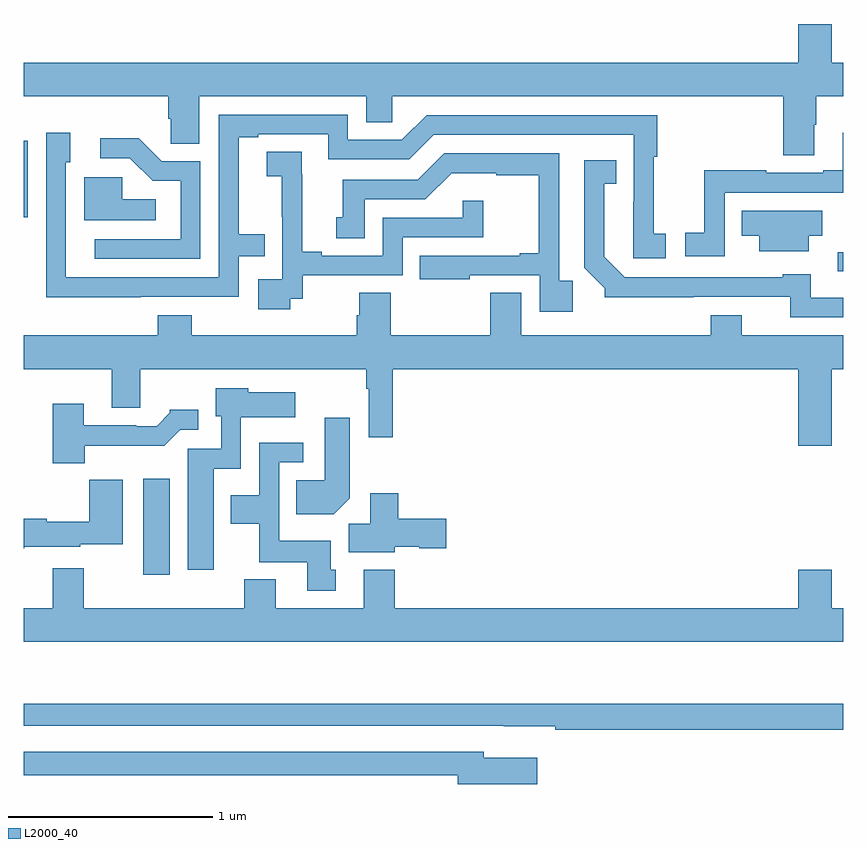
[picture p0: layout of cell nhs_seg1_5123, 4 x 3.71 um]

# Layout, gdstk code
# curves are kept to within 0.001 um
import gdstk
lib = gdstk.Library(unit=1e-6, precision=1e-09)
def R(c, l, rs):  # rectangles x0, y0, x1, y1
    for r in rs: c.add(gdstk.rectangle(r[:2], r[2:], *l))
def P(c, l, *ps):  # polygons
    for p in ps: c.add(gdstk.Polygon(p, *l))
L2000_40 = (2000, 40)

nhs_seg1_5123 = lib.new_cell('nhs_seg1_5123')
R(nhs_seg1_5123, L2000_40, [(389.582,529.416,389.713,529.885), (392.975,530.897,393,530.991), (389,531.162,389.019,531.534)])
P(nhs_seg1_5123, L2000_40, [(392.86,531.614),(392.868,531.614),(392.868,531.752),(393,531.752),(393,531.916),(392.944,531.916),(392.944,532.105),(392.78,532.105),(392.78,531.916),(389,531.916),(389,531.752),(389.705,531.752),(389.705,531.643),(389.718,531.643),(389.718,531.52),(389.857,531.52),(389.857,531.752),(390.671,531.752),(390.671,531.625),(390.798,531.625),(390.798,531.752),(392.708,531.752),(392.708,531.463),(392.86,531.463)],
  [(389.57,530.772),(390.048,530.772),(390.048,530.97),(390.176,530.97),(390.176,531.079),(390.049,531.079),(390.049,531.552),(390.145,531.552),(390.145,531.567),(390.486,531.567),(390.486,531.444),(390.882,531.444),(391.002,531.564),(391.977,531.564),(391.976,530.961),(392.134,530.961),(392.134,531.081),(392.076,531.081),(392.076,531.457),(392.093,531.457),(392.093,531.66),(390.966,531.66),(390.846,531.54),(390.582,531.54),(390.582,531.663),(389.952,531.663),(389.952,530.868),(389.205,530.868),(389.205,531.429),(389.227,531.429),(389.227,531.574),(389.109,531.574),(389.108,530.771)],
  [(392.421,531.282),(393,531.282),(393,531.574),(392.999,531.574),(392.999,531.391),(392.903,531.391),(392.903,531.378),(392.624,531.378),(392.624,531.391),(392.323,531.391),(392.323,531.086),(392.229,531.086),(392.229,530.97),(392.421,530.97)],
  [(389.862,531.435),(389.673,531.435),(389.56,531.548),(389.373,531.548),(389.373,531.45),(389.517,531.45),(389.628,531.339),(389.766,531.339),(389.766,531.054),(389.346,531.054),(389.346,530.958),(389.862,530.958)],
  [(390.3,530.763),(390.362,530.763),(390.362,530.877),(390.849,530.877),(390.849,531.063),(391.244,531.063),(391.244,531.241),(391.143,531.241),(391.143,531.159),(390.753,531.159),(390.753,530.973),(390.454,530.973),(390.454,530.993),(390.358,530.993),(390.358,531.371),(390.356,531.371),(390.356,531.482),(390.186,531.482),(390.186,531.361),(390.26,531.361),(390.26,531.163),(390.261,531.163),(390.261,530.859),(390.144,530.859),(390.144,530.712),(390.3,530.712)],
  [(391.679,530.851),(391.614,530.851),(391.614,531.474),(391.053,531.474),(390.924,531.345),(390.557,531.345),(390.557,531.162),(390.524,531.162),(390.524,531.058),(390.664,531.058),(390.664,531.249),(390.96,531.249),(391.088,531.377),(391.307,531.377),(391.307,531.366),(391.513,531.366),(391.513,530.986),(391.421,530.986),(391.421,530.973),(390.934,530.973),(390.934,530.858),(391.177,530.858),(391.177,530.877),(391.518,530.877),(391.518,530.7),(391.679,530.7)],
  [(393,530.769),(392.842,530.769),(392.842,530.884),(392.706,530.884),(392.706,530.868),(391.935,530.868),(391.834,530.969),(391.834,531.326),(391.892,531.326),(391.892,531.439),(391.737,531.439),(391.737,530.914),(391.836,530.815),(391.836,530.771),(392.743,530.772),(392.743,530.673),(393,530.673)],
  [(389.644,531.25),(389.481,531.25),(389.481,531.357),(389.294,531.357),(389.294,531.146),(389.644,531.146)],
  [(392.833,531.071),(392.899,531.071),(392.899,531.193),(392.506,531.193),(392.506,531.071),(392.591,531.071),(392.591,530.996),(392.833,530.996)],
  [(389,530.42),(389.429,530.42),(389.429,530.23),(389.569,530.23),(389.569,530.42),(390.672,530.42),(390.672,530.324),(390.684,530.324),(390.684,530.088),(390.8,530.088),(390.8,530.42),(392.78,530.42),(392.78,530.046),(392.944,530.046),(392.944,530.42),(393,530.42),(393,530.584),(392.506,530.584),(392.506,530.683),(392.354,530.683),(392.354,530.584),(391.429,530.584),(391.429,530.792),(391.277,530.792),(391.277,530.584),(390.791,530.584),(390.791,530.792),(390.638,530.792),(390.638,530.682),(390.626,530.682),(390.626,530.584),(389.819,530.584),(389.819,530.683),(389.654,530.683),(389.654,530.584),(389,530.584)],
  [(389.926,529.934),(390.06,529.934),(390.06,530.186),(390.325,530.186),(390.325,530.308),(390.096,530.308),(390.096,530.326),(389.936,530.326),(389.936,530.19),(389.964,530.19),(389.964,530.031),(389.801,530.031),(389.801,529.44),(389.926,529.44)],
  [(389.296,530.046),(389.685,530.046),(389.763,530.124),(389.851,530.124),(389.851,530.221),(389.712,530.221),(389.712,530.206),(389.648,530.142),(389.549,530.142),(389.549,530.145),(389.293,530.145),(389.293,530.251),(389.141,530.251),(389.141,529.961),(389.296,529.961)],
  [(390.592,529.79),(390.592,530.182),(390.47,530.182),(390.47,529.876),(390.331,529.876),(390.331,529.712),(390.514,529.712)],
  [(390.523,529.44),(390.499,529.44),(390.499,529.582),(390.246,529.582),(390.246,529.965),(390.364,529.965),(390.364,530.061),(390.15,530.061),(390.15,529.804),(390.011,529.804),(390.011,529.664),(390.148,529.664),(390.148,529.478),(390.383,529.478),(390.383,529.338),(390.523,529.338)],
  [(389.002,529.553),(389.274,529.553),(389.274,529.565),(389.482,529.565),(389.482,529.879),(389.32,529.879),(389.32,529.675),(389.112,529.675),(389.112,529.688),(389,529.688),(389,529.546),(389.002,529.546)],
  [(390.81,529.553),(390.93,529.553),(390.93,529.546),(391.063,529.546),(391.063,529.688),(390.827,529.688),(390.827,529.813),(390.692,529.813),(390.692,529.664),(390.587,529.664),(390.587,529.526),(390.81,529.526)],
  [(393,529.252),(392.944,529.252),(392.944,529.441),(392.78,529.441),(392.78,529.252),(390.812,529.252),(390.812,529.441),(390.659,529.441),(390.659,529.252),(390.229,529.252),(390.229,529.393),(390.077,529.393),(390.077,529.252),(389.293,529.252),(389.293,529.447),(389.141,529.447),(389.141,529.252),(389,529.252),(389,529.088),(393,529.088)],
  [(393,528.787),(389,528.787),(389,528.678),(391.342,528.678),(391.342,528.677),(391.594,528.677),(391.594,528.658),(393,528.658)],
  [(391.507,528.523),(391.246,528.523),(391.246,528.552),(389,528.552),(389,528.436),(391.118,528.436),(391.118,528.394),(391.507,528.394)])

lib.write_gds('nhs_seg1_5123.gds')
